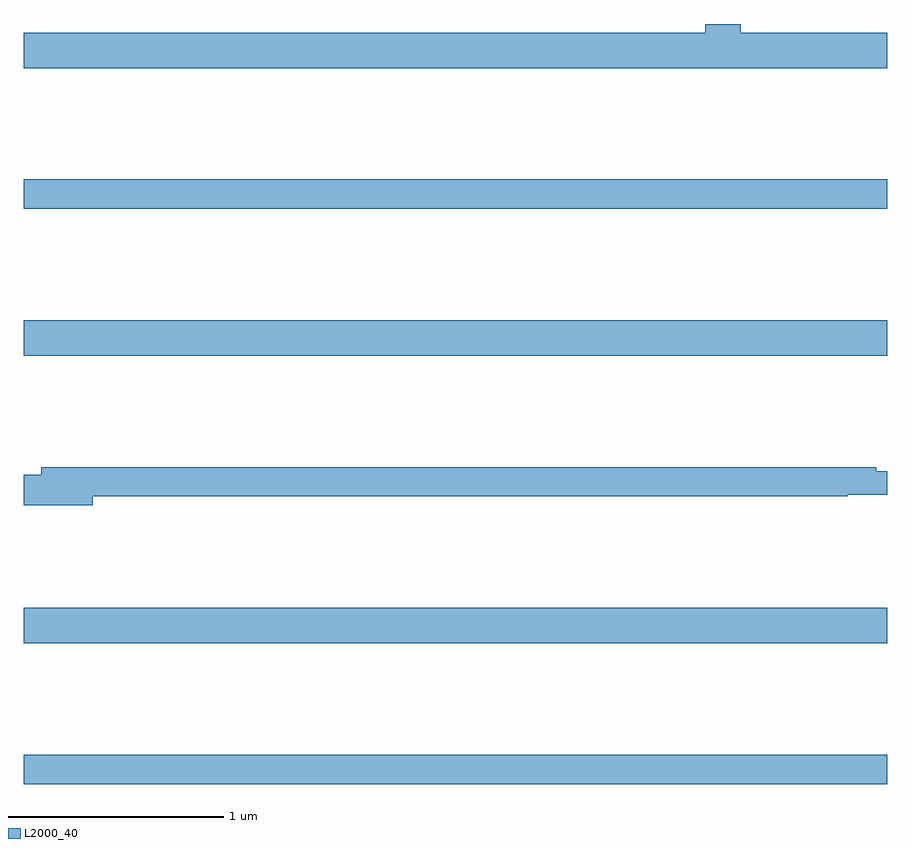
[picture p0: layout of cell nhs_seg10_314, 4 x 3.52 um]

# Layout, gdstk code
import gdstk
lib = gdstk.Library(unit=1e-6, precision=1e-09)
def R(c, l, rs):  # rectangles x0, y0, x1, y1
    for r in rs: c.add(gdstk.rectangle(r[:2], r[2:], *l))
def P(c, l, *ps):  # polygons
    for p in ps: c.add(gdstk.Polygon(p, *l))
L2000_40 = (2000, 40)

nhs_seg10_314 = lib.new_cell('nhs_seg10_314')
R(nhs_seg10_314, L2000_40, [(125,1316.98,129,1317.116), (125,1317.632,129,1317.796), (125,1318.964,129,1319.128), (125,1319.644,129,1319.78)])
P(nhs_seg10_314, L2000_40, [(129,1320.46),(128.32,1320.46),(128.32,1320.5),(128.156,1320.5),(128.156,1320.46),(125,1320.46),(125,1320.296),(129,1320.296)],
  [(125.32,1318.312),(128.816,1318.312),(128.816,1318.32),(129,1318.32),(129,1318.429),(128.948,1318.429),(128.948,1318.448),(125.081,1318.448),(125.081,1318.412),(125,1318.412),(125,1318.27),(125.32,1318.27)])

lib.write_gds('nhs_seg10_314.gds')
